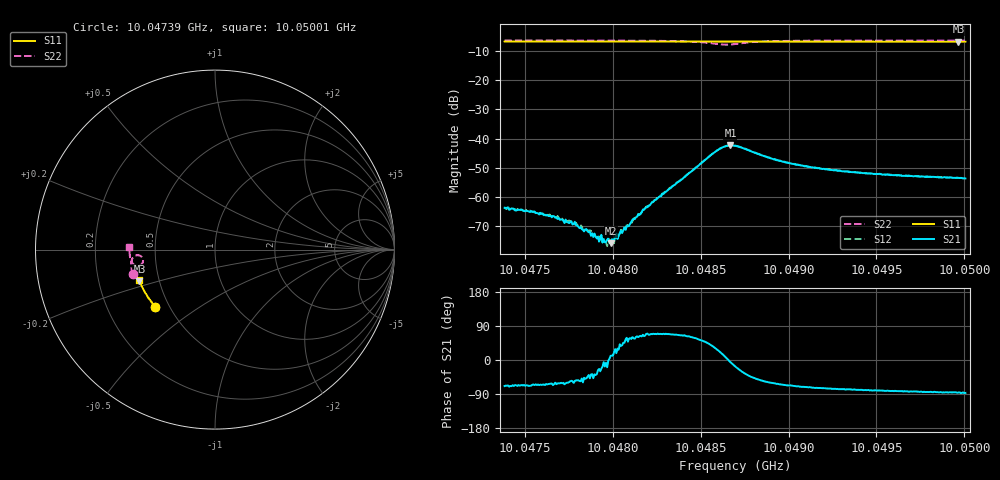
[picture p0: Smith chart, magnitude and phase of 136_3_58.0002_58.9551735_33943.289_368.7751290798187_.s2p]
#  HZ  S  RI  R  50.00
! Rohde & Schwarz Vector Network Analyzer
! Rohde-Schwarz,ZNB20-2Port,1311601062101988,3.16
! Created: UTC 3/21/2024, 12:56:20 AM
! freq[Hz]  re:S11  im:S11  re:S21  im:S21  re:S12  im:S12  re:S22  im:S22
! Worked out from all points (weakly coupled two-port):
!   401 points, 10.04739 GHz to 10.05001 GHz, reference 50 ohm
!   highest |S21| = -42.36 dB at 10.04867 GHz (marker M1); lowest = -75.9 dB at 10.04799 GHz (marker M2)
!   lowest |S11| = -6.8 dB at 10.04997 GHz (marker M3), VSWR 2.67, Z = 19.3 - j8.5 ohm
!   |S11| at or under -10 dB: nowhere
!   |S22| runs from -7.9 to -6.4 dB; largest |S21 - S12| = 0.00052
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1.0047385e10  -0.3322 -0.3186  0.000237 -0.000609  0.000296 -0.000577  -0.4581 -0.1386
1.0047523e10  -0.3381 -0.3117  0.000209 -0.000525  0.000249 -0.000518  -0.4603 -0.1291
1.004766e10  -0.3441 -0.3046  0.00019 -0.000431  0.000227 -0.000374  -0.4626 -0.1194
1.0047772e10  -0.3489 -0.2989  0.000187 -0.000281  0.000221 -0.000298  -0.4642 -0.1109
1.0047824e10  -0.3509 -0.2962  0.000184 -0.000212  0.000204 -0.000235  -0.4648 -0.107
1.0047857e10  -0.3523 -0.2944  0.000185 -0.00018  0.00018 -0.000205  -0.4651 -0.1045
1.0047916e10  -0.3546 -0.2915  0.000186 -9.54e-05  0.000162 -7.45e-05  -0.466 -0.0998
1.0047936e10  -0.3554 -0.2904  0.000208 -8.55e-05  0.000202 -7.38e-05  -0.4661 -0.0984
1.0047955e10  -0.3563 -0.2894  0.000159 -4.87e-05  0.00018 -3.63e-05  -0.4662 -0.0966
1.0047988e10  -0.3576 -0.2875  0.000158 3.12e-05  0.000186 1.7e-05  -0.4665 -0.0939
1.0048021e10  -0.3588 -0.2859  0.000223 7.28e-05  0.000155 0.00012  -0.4668 -0.0911
1.0048132e10  -0.3633 -0.2799  0.000221 0.000391  0.000143 0.000447  -0.4673 -0.0813
1.0048263e10  -0.3683 -0.2728  0.00037 0.000933  0.000302 0.000964  -0.4662 -0.0678
1.0048578e10  -0.3793 -0.2553  0.00481 0.00313  0.00465 0.00349  -0.4221 -0.0323
1.0048624e10  -0.3808 -0.2527  0.00679 0.0019  0.00666 0.0023  -0.4055 -0.0447
1.0048669e10  -0.3823 -0.2504  0.00759 -0.000738  0.00767 -0.000221  -0.4016 -0.0679
1.0048696e10  -0.3832 -0.2491  0.00721 -0.00215  0.00741 -0.00171  -0.4075 -0.0798
1.0048918e10  -0.3912 -0.2367  0.0021 -0.00385  0.00233 -0.00377  -0.4611 -0.0747
1.0049135e10  -0.3982 -0.2241  0.000938 -0.00307  0.00116 -0.00306  -0.4716 -0.0509
1.0049573e10  -0.4109 -0.1981  0.000349 -0.00235  0.000477 -0.00236  -0.4763 -0.0145
1.0049967e10  -0.4209 -0.1741  0.000161 -0.00212  0.000255 -0.0021  -0.4765 0.0142
1.0050006e10  -0.422 -0.1718  0.000112 -0.00207  0.000241 -0.0021  -0.4764 0.0169
